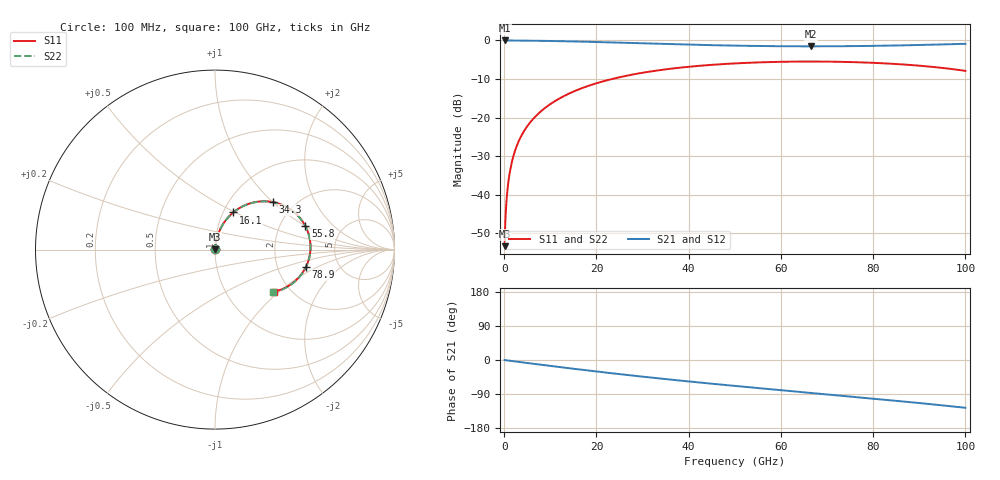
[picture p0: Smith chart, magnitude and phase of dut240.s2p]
! Touchstone file exported from HFSS 2026.1.0
!  File:  C:/ffzhzh/LocalFiles/Ansys_Project_Files/temp_train_RDL_240_1783501326_9504.aedt
!  Generated:  05:03:21 PM Jul  8, 2026
!  Design:  RDL
!  Project:  temp_train_RDL_240_1783501326_9504
! Variables:
!  h_bsmrdl = 2um
!  h_ox = 20um
!  h_rdl = 5um
!  h_sub = 80um
!  h_tmrdl = 4.96um
!  h_tsv = 80um
!  h_via = 3um
!  l_bsmrdl = 300um
!  l_sub = 820.66um
!  l_tmrdl = 420.66um
!  m_sub = 200um
!  pitch = 57.52um
!  r_tsv = 6um
!  s_tmrdl = 10um
!  w_bsmrdl = 18um
!  w_sub = 500um
!  w_tmrdl = 26.9um
!  x_tsv_center1 = 434.11um
!  x_tsv_center2 = 752.11um
!  x_tsv_center3 = 1199.67um
!  x_tsv_center4 = 1517.67um
!  x_tsv_center5 = 1965.23um
!  x_tsv_center6 = 2283.23um
# GHz S MA R 50.000000
! Terminal data exported
! Port[1] = TM_RDL1_1_T1
! Port[2] = TM_RDL1_1_T2
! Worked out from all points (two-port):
!   1000 points, 100 MHz to 100 GHz, reference 50 ohm
!   highest |S21| = -0.01 dB at 100 MHz (marker M1); lowest = -1.5 dB at 66.6 GHz (marker M2)
!   |S21| within 3 dB of the highest: start of sweep to end of sweep
!   lowest |S11| = -53.3 dB at 100 MHz (marker M3), VSWR 1.00, Z = 50.1 + j0.173 ohm
!   |S11| at or under -10 dB: start of sweep to 23.38 GHz
!   |S22| runs from -53.3 to -5.5 dB; largest |S21 - S12| = 1.6e-14
!   S11 on the Smith chart (normalised r, x): 100 MHz: 1.00, +0.00; 16.1 GHz: 1.11, +0.49; 34.3 GHz: 1.56, +1.00; 55.8 GHz: 2.77, +0.99; 78.9 GHz: 2.91, -0.76; 100 GHz: 1.65, -0.93
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0.1  0.00216 52.8  0.9987 -0.2  0.9987 -0.2  0.00216 52.8
! Gamma 0 0 0 0
! Port Impedance 50 0 50 0
0.8  0.01287 81.3  0.9983 -1.3  0.9983 -1.3  0.01287 81.3
1  0.016 82.3  0.9982 -1.6  0.9982 -1.6  0.016 82.3
1.3  0.0207 82.9  0.998 -2.1  0.998 -2.1  0.0207 82.9
1.7  0.02695 83.1  0.9977 -2.7  0.9977 -2.7  0.02695 83.1
2.3  0.03626 82.8  0.9971 -3.7  0.9971 -3.7  0.03626 82.8
3.7  0.05767 81.2  0.9954 -5.9  0.9954 -5.9  0.05767 81.2
5.8  0.089 78.4  0.9922 -9.1  0.9922 -9.1  0.089 78.4
8.5  0.1281 74.6  0.987 -13.3  0.987 -13.3  0.1281 74.6
11.9  0.1757 69.8  0.9788 -18.4  0.9788 -18.4  0.1757 69.7
16.1  0.231 63.8  0.9665 -24.7  0.9665 -24.7  0.231 63.7
16.8  0.2398 62.8  0.9643 -25.7  0.9643 -25.7  0.2398 62.7
24.2  0.325 52.6  0.9383 -36.2  0.9383 -36.2  0.325 52.5
33.4  0.4094 40.6  0.9044 -48.4  0.9044 -48.4  0.4094 40.5
34.3  0.4164 39.5  0.9012 -49.5  0.9012 -49.5  0.4164 39.4
50.1  0.5039 20.8  0.8555 -68.5  0.8555 -68.5  0.5039 20.7
55.8  0.5206 14.5  0.8456 -74.9  0.8456 -74.9  0.5206 14.3
66.6  0.5326 2.7  0.8381 -86.9  0.8381 -86.9  0.5326 2.5
66.7  0.5326 2.6  0.8381 -87.0  0.8381 -87.0  0.5326 2.4
78.9  0.5157 -10.8  0.8479 -100.6  0.8479 -100.6  0.5157 -11.1
83.4  0.501 -15.8  0.8561 -105.7  0.8561 -105.7  0.501 -16.2
100  0.4033 -35.6  0.9036 -126.1  0.9036 -126.1  0.4033 -36.1
